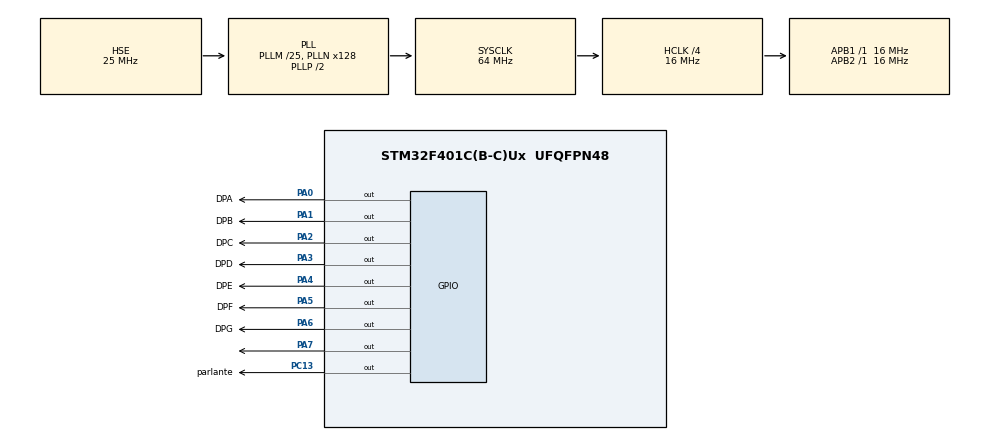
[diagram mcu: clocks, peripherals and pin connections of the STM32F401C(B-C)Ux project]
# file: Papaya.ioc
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Mcu.Family=STM32F4
Mcu.Name=STM32F401C(B-C)Ux
Mcu.Package=UFQFPN48
NVIC.PriorityGroup=NVIC_PRIORITYGROUP_4
PA0-WKUP.GPIO_Label=DPA
PA0-WKUP.Signal=GPIO_Output
PA1.GPIO_Label=DPB
PA1.Signal=GPIO_Output
PA2.GPIO_Label=DPC
PA2.Signal=GPIO_Output
PA3.GPIO_Label=DPD
PA3.Signal=GPIO_Output
PA4.GPIO_Label=DPE
PA4.Signal=GPIO_Output
PA5.GPIO_Label=DPF
PA5.Signal=GPIO_Output
PA6.GPIO_Label=DPG
PA6.Signal=GPIO_Output
PA7.Signal=GPIO_Output
PC13-ANTI_TAMP.GPIO_Label=parlante
PC13-ANTI_TAMP.Signal=GPIO_Output
PH0\ -\ OSC_IN.Mode=HSE-External-Oscillator
PH0\ -\ OSC_IN.Signal=RCC_OSC_IN
PH1\ -\ OSC_OUT.Mode=HSE-External-Oscillator
PH1\ -\ OSC_OUT.Signal=RCC_OSC_OUT
ProjectManager.HeapSize=0x200
ProjectManager.StackSize=0x400
ProjectManager.TargetToolchain=CMake
RCC.48MHZClocksFreq_Value=32000000
RCC.AHBCLKDivider=RCC_SYSCLK_DIV4
RCC.AHBFreq_Value=16000000
RCC.APB1Freq_Value=16000000
RCC.APB1TimFreq_Value=16000000
RCC.APB2Freq_Value=16000000
RCC.APB2TimFreq_Value=16000000
RCC.CortexFreq_Value=16000000
RCC.HCLKFreq_Value=16000000
RCC.HSE_VALUE=25000000
RCC.HSI_VALUE=16000000
RCC.LSE_VALUE=32768
RCC.PLLM=25
RCC.PLLN=128
RCC.PLLSourceVirtual=RCC_PLLSOURCE_HSE
RCC.SYSCLKFreq_VALUE=64000000
RCC.SYSCLKSource=RCC_SYSCLKSOURCE_PLLCLK
RCC.VCOOutputFreq_Value=128000000
board=custom

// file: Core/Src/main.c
/* USER CODE BEGIN Header */
/**
  ******************************************************************************
  * @file           : main.c
  * @brief          : Main program body
  ******************************************************************************
  * @attention
  *
  * Copyright (c) 2026 STMicroelectronics.
  * All rights reserved.
  *
  * This software is licensed under terms that can be found in the LICENSE file
  * in the root directory of this software component.
  * If no LICENSE file comes with this software, it is provided AS-IS.
  *
  ******************************************************************************
  */
/* USER CODE END Header */
#include "main.h"

/* USER CODE BEGIN PV */
uint32_t pasos=0;

/* USER CODE END PV */

void SystemClock_Config(void);
static void MX_GPIO_Init(void);

/* USER CODE BEGIN 0 */

void delay_us_dwt_init()
{
	CoreDebug->DEMCR |= CoreDebug_DEMCR_TRCENA_Msk;
    DWT->CTRL |= DWT_CTRL_CYCCNTENA_Msk;
    pasos=(HAL_RCC_GetSysClockFreq()/1000000);//le el cristal pasa a us

}

//retardo por debbuger
void delay_us_dwt(uint32_t reta)
{

DWT->CYCCNT=0;
while( DWT->CYCCNT<=pasos*reta);//multiplica por us
}

void Sound_play(uint32_t frec,uint32_t dura)
{
	uint32_t dela=500000/frec;//  la mitad de un mega
	uint32_t  repe=frec*dura/1000;// calcula cuantas veces se repite

		while(repe--)
	  {
	HAL_GPIO_WritePin(parlante_GPIO_Port, parlante_Pin,1);
	delay_us_dwt(dela);
	  HAL_GPIO_WritePin(parlante_GPIO_Port, parlante_Pin,0);
	  delay_us_dwt(dela);
      }

}

void melodia1 ()
{
 // Intro icónica: Mi - Mi - Mi - Do - Mi - Sol - Sol(G3)
    Sound_play(659, 150); HAL_Delay(50); // Mi5
    Sound_play(659, 150); HAL_Delay(150); // Mi5
    Sound_play(659, 150); HAL_Delay(150); // Mi5
    Sound_play(523, 150); HAL_Delay(50); // Do5
    Sound_play(659, 150); HAL_Delay(150); // Mi5
    Sound_play(784, 300); HAL_Delay(150); // Sol5
    Sound_play(392, 300); HAL_Delay(300); // Sol4

    // Frase 1: Do - Sol - Mi - La - Si - Sib - La
    Sound_play(523, 200); HAL_Delay(100); // Do5
    Sound_play(392, 200); HAL_Delay(100); // Sol4
    Sound_play(330, 200); HAL_Delay(100); // Mi4
    Sound_play(440, 150); HAL_Delay(50);  // La4
    Sound_play(494, 150); HAL_Delay(50);  // Si4
    Sound_play(466, 150); HAL_Delay(50);  // Sib4 (La#4)
    Sound_play(440, 200); HAL_Delay(100); // La4

    // Frase 2: Sol - Mi - Sol - La - Fa - Sol - Mi
    Sound_play(392, 150); HAL_Delay(50);  // Sol4
    Sound_play(659, 150); HAL_Delay(50);  // Mi5
    Sound_play(784, 150); HAL_Delay(50);  // Sol5
    Sound_play(880, 200); HAL_Delay(50);  // La5
    Sound_play(698, 150); HAL_Delay(50);  // Fa5
    Sound_play(784, 150); HAL_Delay(50);  // Sol5
    Sound_play(659, 200); HAL_Delay(100); // Mi5
    Sound_play(523, 150); HAL_Delay(50);  // Do5
    Sound_play(587, 150); HAL_Delay(50);  // Re5
    Sound_play(494, 200); HAL_Delay(200); // Si4

    HAL_Delay(1000); // Pausa antes de repetir
}
/* USER CODE END 0 */

int main(void)
{

  /* MCU Configuration--------------------------------------------------------*/

  /* Reset of all peripherals, Initializes the Flash interface and the Systick. */
  HAL_Init();

  /* Configure the system clock */
  SystemClock_Config();

  /* Initialize all configured peripherals */
  MX_GPIO_Init();
  /* USER CODE BEGIN 2 */
  delay_us_dwt_init();
  /* USER CODE END 2 */

  /* Infinite loop */
  /* USER CODE BEGIN WHILE */
  while (1)
  {

 melodia1();
    /* USER CODE END WHILE */

  }
}

void SystemClock_Config(void)
{
  RCC_OscInitTypeDef RCC_OscInitStruct = {0};
  RCC_ClkInitTypeDef RCC_ClkInitStruct = {0};

  /** Configure the main internal regulator output voltage
  */
  __HAL_RCC_PWR_CLK_ENABLE();
  __HAL_PWR_VOLTAGESCALING_CONFIG(PWR_REGULATOR_VOLTAGE_SCALE2);

  /** Initializes the RCC Oscillators according to the specified parameters
  * in the RCC_OscInitTypeDef structure.
  */
  RCC_OscInitStruct.OscillatorType = RCC_OSCILLATORTYPE_HSE;
  RCC_OscInitStruct.HSEState = RCC_HSE_ON;
  RCC_OscInitStruct.PLL.PLLState = RCC_PLL_ON;
  RCC_OscInitStruct.PLL.PLLSource = RCC_PLLSOURCE_HSE;
  RCC_OscInitStruct.PLL.PLLM = 25;
  RCC_OscInitStruct.PLL.PLLN = 128;
  RCC_OscInitStruct.PLL.PLLP = RCC_PLLP_DIV2;
  RCC_OscInitStruct.PLL.PLLQ = 4;
  if (HAL_RCC_OscConfig(&RCC_OscInitStruct) != HAL_OK)
  {
    Error_Handler();
  }

  /** Initializes the CPU, AHB and APB buses clocks
  */
  RCC_ClkInitStruct.ClockType = RCC_CLOCKTYPE_HCLK|RCC_CLOCKTYPE_SYSCLK
                              |RCC_CLOCKTYPE_PCLK1|RCC_CLOCKTYPE_PCLK2;
  RCC_ClkInitStruct.SYSCLKSource = RCC_SYSCLKSOURCE_PLLCLK;
  RCC_ClkInitStruct.AHBCLKDivider = RCC_SYSCLK_DIV4;
  RCC_ClkInitStruct.APB1CLKDivider = RCC_HCLK_DIV1;
  RCC_ClkInitStruct.APB2CLKDivider = RCC_HCLK_DIV1;

  if (HAL_RCC_ClockConfig(&RCC_ClkInitStruct, FLASH_LATENCY_0) != HAL_OK)
  {
    Error_Handler();
  }
}

static void MX_GPIO_Init(void)
{
  GPIO_InitTypeDef GPIO_InitStruct = {0};

  /* GPIO Ports Clock Enable */
  __HAL_RCC_GPIOC_CLK_ENABLE();
  __HAL_RCC_GPIOH_CLK_ENABLE();
  __HAL_RCC_GPIOA_CLK_ENABLE();

  /*Configure GPIO pin Output Level */
  HAL_GPIO_WritePin(parlante_GPIO_Port, parlante_Pin, GPIO_PIN_RESET);

  /*Configure GPIO pin Output Level */
  HAL_GPIO_WritePin(GPIOA, DPA_Pin|DPB_Pin|DPC_Pin|DPD_Pin
                          |DPE_Pin|DPF_Pin|DPG_Pin|GPIO_PIN_7, GPIO_PIN_RESET);

  /*Configure GPIO pin : parlante_Pin */
  GPIO_InitStruct.Pin = parlante_Pin;
  GPIO_InitStruct.Mode = GPIO_MODE_OUTPUT_PP;
  GPIO_InitStruct.Pull = GPIO_NOPULL;
  GPIO_InitStruct.Speed = GPIO_SPEED_FREQ_LOW;
  HAL_GPIO_Init(parlante_GPIO_Port, &GPIO_InitStruct);

  /*Configure GPIO pins : DPA_Pin DPB_Pin DPC_Pin DPD_Pin
                           DPE_Pin DPF_Pin DPG_Pin PA7 */
  GPIO_InitStruct.Pin = DPA_Pin|DPB_Pin|DPC_Pin|DPD_Pin
                          |DPE_Pin|DPF_Pin|DPG_Pin|GPIO_PIN_7;
  GPIO_InitStruct.Mode = GPIO_MODE_OUTPUT_PP;
  GPIO_InitStruct.Pull = GPIO_NOPULL;
  GPIO_InitStruct.Speed = GPIO_SPEED_FREQ_LOW;
  HAL_GPIO_Init(GPIOA, &GPIO_InitStruct);

}

void Error_Handler(void)
{
  __disable_irq();
  while (1)
  {
  }
}
